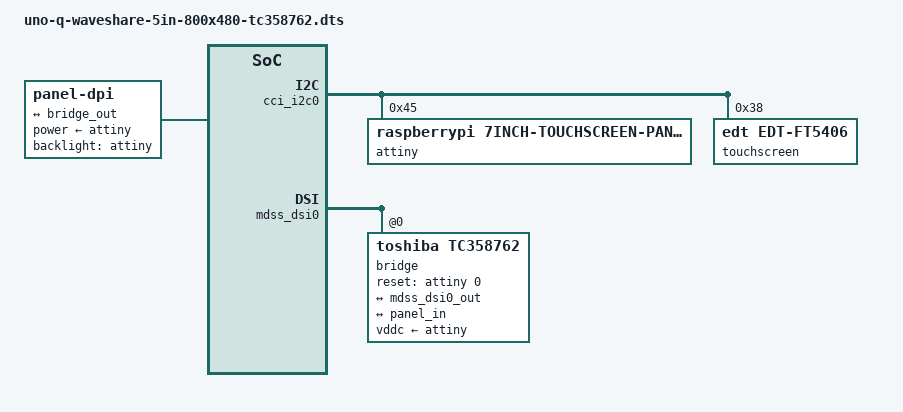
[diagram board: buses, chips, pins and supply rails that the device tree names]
// SPDX-License-Identifier: GPL-2.0
/*
 * Arduino UNO Q + UNO Media Carrier + Waveshare 5inch DSI LCD (800x480)
 *
 * This panel is a Raspberry Pi 7"-official-display clone:
 *   ATTINY88 @ 0x45  - panel power rail + backlight (I2C)
 *   FT5406   @ 0x38  - FocalTech capacitive touch (I2C)
 *   TC358762         - MIPI DSI -> MIPI DPI bridge (DSI virtual channel 0)
 *
 * Confirmed by I2C scan of the carrier bus: 0x45 and 0x38 present, 0x5d absent
 * (0x5d would indicate the GT9271 of the 5-DSI-TOUCH-A, a different panel).
 *
 * Requires two out-of-tree modules built from the matching kernel commit:
 *   tc358762.ko                  (drivers/gpu/drm/bridge/tc358762.c)
 *   rpi-panel-attiny-regulator.ko (drivers/regulator/rpi-panel-attiny-regulator.c)
 *
 * Node layout mirrors Arduino's own
 * qrb2210-arduino-imola-carrier-media-panel-5in_touch_a-dsi.dtbo, so it composes
 * with qrb2210-arduino-imola-carrier-media.dtbo the same way. The PCA9555 GPIO
 * expander and camera regulators are deliberately NOT redefined here - the
 * carrier-media overlay already provides them.
 *
 * Build:
 *   dtc -@ -I dts -O dtb -o uno-q-waveshare-5in-800x480-tc358762.dtbo <this file>
 */

/dts-v1/;
/plugin/;

/ {
	/* ---- I2C devices on the carrier's DSI-side bus (Qualcomm CCI i2c-0) ---- */
	fragment@0 {
		target = <&cci_i2c0>;
		__overlay__ {
			#address-cells = <1>;
			#size-cells = <0>;

			attiny: regulator@45 {
				compatible = "raspberrypi,7inch-touchscreen-panel-regulator";
				reg = <0x45>;
				gpio-controller;
				#gpio-cells = <2>;
			};

			touchscreen@38 {
				compatible = "edt,edt-ft5406";
				reg = <0x38>;
				touchscreen-size-x = <800>;
				touchscreen-size-y = <480>;
			};
		};
	};

	/* ---- TC358762 DSI-to-DPI bridge, hanging off the DSI host ---- */
	fragment@1 {
		target = <&mdss_dsi0>;
		__overlay__ {
			#address-cells = <1>;
			#size-cells = <0>;
			vdda-supply = <&pm4125_l5>;
			status = "okay";

			bridge@0 {
				compatible = "toshiba,tc358762";
				reg = <0>;
				vddc-supply = <&attiny>;

				/*
				 * ESSENTIAL. Enabling the ATTINY regulator does NOT release
				 * the bridge from reset - attiny_lcd_power_enable() ends with
				 * PORTC = PC_LED_EN, leaving RST_BRIDGE_N low. Reset release
				 * is a separate GPIO on the same chip:
				 *   ATTINY gpio 0 = RST_BRIDGE_N (also drives RST_LCD_N)
				 *   ATTINY gpio 1 = RST_TP_N
				 * tc358762_pre_enable() does gpiod_set_value(reset, 1) to take
				 * the bridge OUT of reset, so this is ACTIVE_HIGH (0).
				 * Without this the whole pipeline comes up correctly - CRTC
				 * active, correct mode, framebuffer scanning out - and the
				 * panel stays black.
				 */
				reset-gpios = <&attiny 0 0>;

				ports {
					#address-cells = <1>;
					#size-cells = <0>;

					port@0 {
						reg = <0>;
						bridge_in: endpoint {
							remote-endpoint = <&mdss_dsi0_out>;
						};
					};

					port@1 {
						reg = <1>;
						bridge_out: endpoint {
							remote-endpoint = <&panel_in>;
						};
					};
				};
			};
		};
	};

	/* ---- the 800x480 DPI panel on the bridge's output ---- */
	fragment@2 {
		target-path = "/";
		__overlay__ {
			panel: panel-dpi {
				compatible = "panel-dpi";
				power-supply = <&attiny>;
				backlight = <&attiny>;
				width-mm = <109>;
				height-mm = <65>;

				/*
				 * Timings from the mainline RPi touchscreen panel driver
				 * (panel-raspberrypi-touchscreen.c). HFP=1 with 2 pixels of
				 * HBP works around a hardware issue in this panel.
				 */
				panel-timing {
					clock-frequency = <25979400>;
					hactive = <800>;
					hfront-porch = <1>;
					hsync-len = <2>;
					hback-porch = <46>;
					vactive = <480>;
					vfront-porch = <7>;
					vsync-len = <2>;
					vback-porch = <21>;
					hsync-active = <0>;
					vsync-active = <0>;
					de-active = <1>;
					pixelclk-active = <1>;
				};

				port {
					panel_in: endpoint {
						remote-endpoint = <&bridge_out>;
					};
				};
			};
		};
	};

	/*
	 * ---- point the DSI output at the bridge ----
	 * ONE lane. Not 4 (as Arduino's official panel overlays use) and not 2.
	 * The TC358762 driver is unambiguous about this:
	 *   tc358762.c:279  dsi->lanes = 1;
	 *   tc358762_init() DSI_LANEENABLE = LANEENABLE_L0EN | LANEENABLE_CLEN
	 * i.e. only data lane 0 plus the clock lane are ever enabled.
	 * 800x480 at 25.98 MHz x 24bpp is ~623 Mbit/s, which one lane carries fine.
	 */
	fragment@3 {
		target = <&mdss_dsi0_out>;
		__overlay__ {
			remote-endpoint = <&bridge_in>;
			data-lanes = <0>;
		};
	};
};
